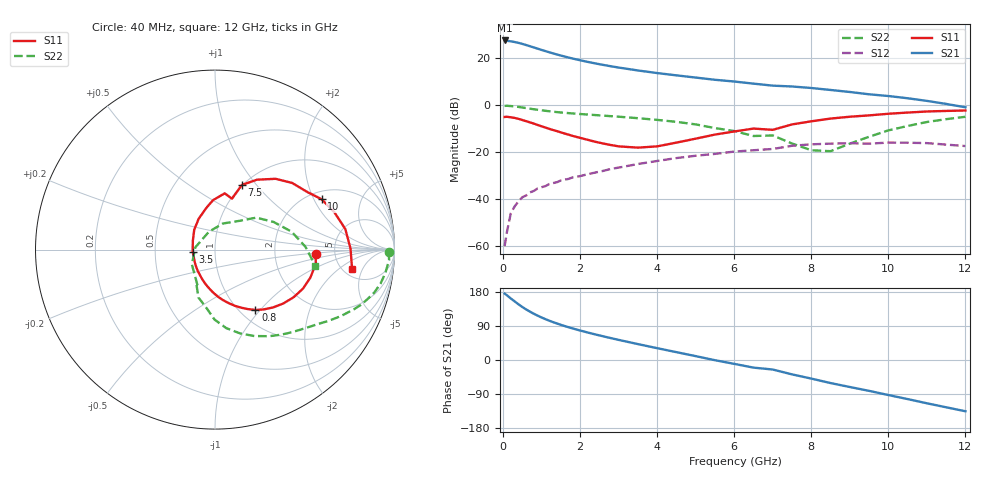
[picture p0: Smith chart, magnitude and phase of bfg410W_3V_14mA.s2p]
! Filename: 314bfg410.001
! BFG410W Field B1
! V1=8.758E-001V,V2=3.000E+000V, I1=2.143E-004A, I2=1.402E-002A
# GHz  S  MA  R 50
!  S11  S21  S12  S22
!Freq(GHz)  Mag  Ang  Mag  Ang  Mag  Ang  Mag  Ang
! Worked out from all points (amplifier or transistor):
!   44 points, 40 MHz to 12 GHz, reference 50 ohm
!   highest |S21| = 27.6 dB at 40 MHz (marker M1)
!   |S21| within 3 dB of that: start of sweep to 802.4 MHz
!   unconditionally stable (mu >= 1): start of sweep to 50.39 MHz; 1.624 GHz to end of sweep
!   at 700 MHz: K = 0.60, MSG = 31.1 dB, |S12| = -37.1 dB
!   at 2.4 GHz: K = 1.16, MAG = 20.8 dB, |S12| = -28.6 dB
!   at 12 GHz: K = 1.49, MAG = 4.1 dB, |S12| = -17.4 dB
!   S11 on the Smith chart (normalised r, x): 40 MHz: 3.54, -0.27; 800 MHz: 1.17, -0.94; 3.5 GHz: 0.78, -0.02; 7.5 GHz: 0.99, +0.84; 10 GHz: 2.33, +2.30; 12 GHz: 6.06, -3.15
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0.04  0.562 -2.6  23.86 175.3  0.001 59.6  0.967 -0.7
0.2  0.554 -16.3  22.85 162.4  0.005 81.2  0.958 -7.8
0.3  0.536 -24.0  22.11 154.7  0.007 78.7  0.942 -11.5
0.4  0.512 -31.3  21.2 147.0  0.009 75.1  0.919 -15.1
0.5  0.484 -38.5  20.16 139.8  0.011 71.4  0.893 -18.0
0.6  0.457 -44.8  19.06 133.4  0.012 70.0  0.869 -20.7
0.8  0.405 -56.2  16.91 121.9  0.015 66.5  0.819 -25.3
1  0.355 -65.7  15 112.1  0.018 64.2  0.778 -29.1
1.1  0.334 -70.2  14.16 107.8  0.019 63.3  0.76 -30.8
1.4  0.28 -82.1  11.99 96.3  0.023 61.5  0.713 -35.3
1.8  0.223 -97.1  9.865 83.5  0.029 59.4  0.668 -40.8
2.2  0.183 -111.9  8.34 72.5  0.034 57.2  0.632 -46.5
2.8  0.142 -137.9  6.735 57.7  0.044 52.9  0.584 -55.0
3.5  0.125 -175.1  5.484 42.0  0.056 46.2  0.529 -65.6
4.5  0.16 136.3  4.314 20.7  0.075 33.9  0.442 -81.8
5.5  0.237 101.8  3.474 -0.6  0.092 18.6  0.326 -98.8
6.5  0.318 80.2  2.876 -20.1  0.11 4.5  0.221 -117.8
7.5  0.39 67.4  2.502 -38.0  0.137 -6.7  0.153 -147.5
8.5  0.519 49.5  2.109 -60.9  0.152 -29.7  0.105 108.9
10  0.657 25.3  1.569 -92.5  0.16 -59.6  0.291 37.7
10.5  0.697 17.3  1.405 -103.1  0.159 -70.1  0.361 25.3
12  0.771 -7.9  0.903 -135.3  0.135 -108.0  0.567 -9.3
